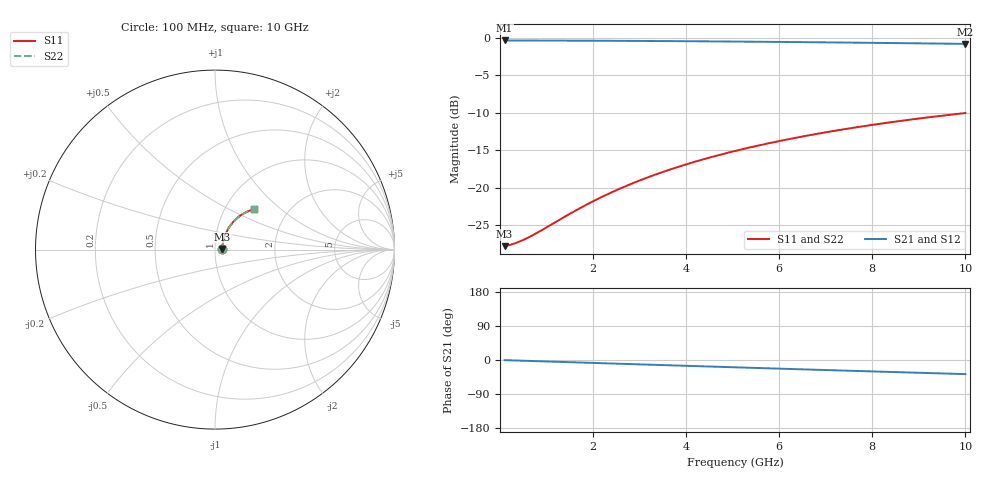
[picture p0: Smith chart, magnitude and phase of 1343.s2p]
# Hz S RI R 50.00
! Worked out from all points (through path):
!   100 points, 100 MHz to 10 GHz, reference 50 ohm
!   highest |S21| = -0.36 dB at 100 MHz (marker M1); lowest = -0.8 dB at 10 GHz (marker M2)
!   group delay of S21, straight-line fit = 10.4 ps
!   lowest |S11| = -27.8 dB at 100 MHz (marker M3), VSWR 1.08, Z = 54.2 + j0.349 ohm
!   |S11| at or under -10 dB: start of sweep to end of sweep
!   |S22| runs from -27.8 to -10.1 dB; largest |S21 - S12| = 0
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1e8  0.0405 0.00321  0.9595 -0.00646  0.9595 -0.00646  0.0405 0.00321
3e8  0.0411 0.00961  0.9588 -0.0194  0.9588 -0.0194  0.0411 0.00961
4e8  0.0414 0.0128  0.9585 -0.0258  0.9585 -0.0258  0.0414 0.0128
6e8  0.0421 0.0192  0.9577 -0.0387  0.9577 -0.0387  0.0421 0.0192
8e8  0.0429 0.0255  0.9567 -0.0516  0.9567 -0.0516  0.0429 0.0255
1.5e9  0.0469 0.0475  0.9519 -0.0963  0.9519 -0.0963  0.0469 0.0475
1.8e9  0.0492 0.0568  0.9491 -0.1154  0.9491 -0.1154  0.0492 0.0568
2.2e9  0.0528 0.069  0.9446 -0.1406  0.9446 -0.1406  0.0528 0.069
2.6e9  0.057 0.081  0.9393 -0.1656  0.9393 -0.1656  0.057 0.081
3e9  0.0618 0.0927  0.9332 -0.1903  0.9332 -0.1903  0.0618 0.0927
3.4e9  0.0673 0.1041  0.9264 -0.2147  0.9264 -0.2147  0.0673 0.1041
3.8e9  0.0733 0.1151  0.9188 -0.2387  0.9188 -0.2387  0.0733 0.1151
4.2e9  0.0799 0.1258  0.9105 -0.2624  0.9105 -0.2624  0.0799 0.1258
4.6e9  0.087 0.1361  0.9014 -0.2857  0.9014 -0.2857  0.087 0.1361
5.1e9  0.0966 0.1483  0.8892 -0.3142  0.8892 -0.3142  0.0966 0.1483
5.5e9  0.1048 0.1576  0.8787 -0.3365  0.8787 -0.3365  0.1048 0.1576
5.9e9  0.1134 0.1663  0.8675 -0.3583  0.8675 -0.3583  0.1134 0.1663
6.7e9  0.1319 0.1824  0.8435 -0.4005  0.8435 -0.4005  0.1319 0.1824
7.5e9  0.1517 0.1963  0.8173 -0.4404  0.8173 -0.4404  0.1517 0.1963
8.4e9  0.1753 0.2093  0.7857 -0.4827  0.7857 -0.4827  0.1753 0.2093
9.2e9  0.1971 0.2183  0.756 -0.5179  0.756 -0.5179  0.1971 0.2183
1e10  0.2194 0.2251  0.7249 -0.5508  0.7249 -0.5508  0.2194 0.2251
